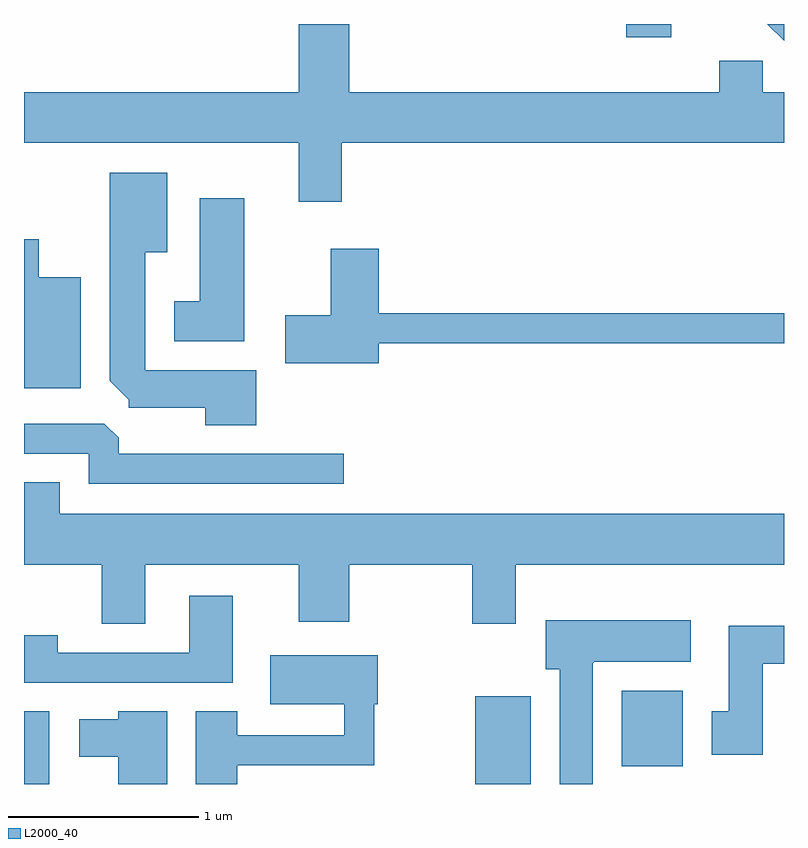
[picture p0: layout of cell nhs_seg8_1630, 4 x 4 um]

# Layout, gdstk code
import gdstk
lib = gdstk.Library(unit=1e-6, precision=1e-09)
def R(c, l, rs):  # rectangles x0, y0, x1, y1
    for r in rs: c.add(gdstk.rectangle(r[:2], r[2:], *l))
def P(c, l, *ps):  # polygons
    for p in ps: c.add(gdstk.Polygon(p, *l))
L2000_40 = (2000, 40)

nhs_seg8_1630 = lib.new_cell('nhs_seg8_1630')
R(nhs_seg8_1630, L2000_40, [(233.611,1866.342,233.744,1866.724), (235.986,1866.342,236.279,1866.804), (236.756,1866.436,237.079,1866.834), (236.781,1870.271,237.018,1870.342)])
P(nhs_seg8_1630, L2000_40, [(235.284,1869.716),(237.611,1869.716),(237.611,1869.984),(237.499,1869.984),(237.499,1870.149),(237.271,1870.149),(237.271,1869.984),(235.324,1869.984),(235.324,1870.342),(235.056,1870.342),(235.056,1869.984),(233.611,1869.984),(233.611,1869.716),(235.056,1869.716),(235.056,1869.406),(235.284,1869.406)],
  [(237.611,1870.342),(237.523,1870.342),(237.611,1870.254)],
  [(234.834,1868.519),(234.249,1868.519),(234.249,1869.141),(234.364,1869.141),(234.364,1869.559),(234.061,1869.559),(234.061,1868.464),(234.161,1868.364),(234.161,1868.321),(234.566,1868.321),(234.566,1868.231),(234.834,1868.231)],
  [(234.769,1869.424),(234.536,1869.424),(234.536,1868.884),(234.401,1868.884),(234.401,1868.671),(234.769,1868.671)],
  [(233.909,1869.009),(233.689,1869.009),(233.689,1869.209),(233.611,1869.209),(233.611,1868.426),(233.909,1868.426)],
  [(235.479,1868.661),(237.611,1868.661),(237.611,1868.819),(235.479,1868.819),(235.479,1869.159),(235.226,1869.159),(235.226,1868.809),(234.986,1868.809),(234.986,1868.556),(235.479,1868.556)],
  [(235.293,1868.079),(234.109,1868.079),(234.109,1868.164),(234.034,1868.239),(233.611,1868.239),(233.611,1868.081),(233.951,1868.081),(233.951,1867.921),(235.293,1867.921)],
  [(234.249,1867.496),(235.056,1867.496),(235.056,1867.196),(235.324,1867.196),(235.324,1867.496),(235.971,1867.496),(235.971,1867.186),(236.199,1867.186),(236.199,1867.496),(237.611,1867.496),(237.611,1867.764),(233.799,1867.764),(233.799,1867.929),(233.611,1867.929),(233.611,1867.496),(234.021,1867.496),(234.021,1867.186),(234.249,1867.186)],
  [(234.709,1867.334),(234.481,1867.334),(234.481,1867.034),(233.789,1867.034),(233.789,1867.124),(233.611,1867.124),(233.611,1866.876),(234.709,1866.876)],
  [(236.604,1866.98),(236.61,1866.98),(236.61,1866.986),(237.119,1866.986),(237.119,1867.204),(236.356,1867.204),(236.356,1866.946),(236.431,1866.946),(236.431,1866.342),(236.604,1866.342)],
  [(237.499,1866.976),(237.611,1866.976),(237.611,1867.174),(237.321,1867.174),(237.321,1866.724),(237.231,1866.724),(237.231,1866.496),(237.499,1866.496)],
  [(234.734,1866.441),(235.454,1866.441),(235.454,1866.761),(235.474,1866.761),(235.474,1867.019),(234.906,1867.019),(234.906,1866.761),(235.296,1866.761),(235.296,1866.599),(234.734,1866.599),(234.734,1866.724),(234.516,1866.724),(234.516,1866.342),(234.734,1866.342)],
  [(234.364,1866.724),(234.106,1866.724),(234.106,1866.684),(233.901,1866.684),(233.901,1866.486),(234.106,1866.486),(234.106,1866.342),(234.364,1866.342)])

lib.write_gds('nhs_seg8_1630.gds')
